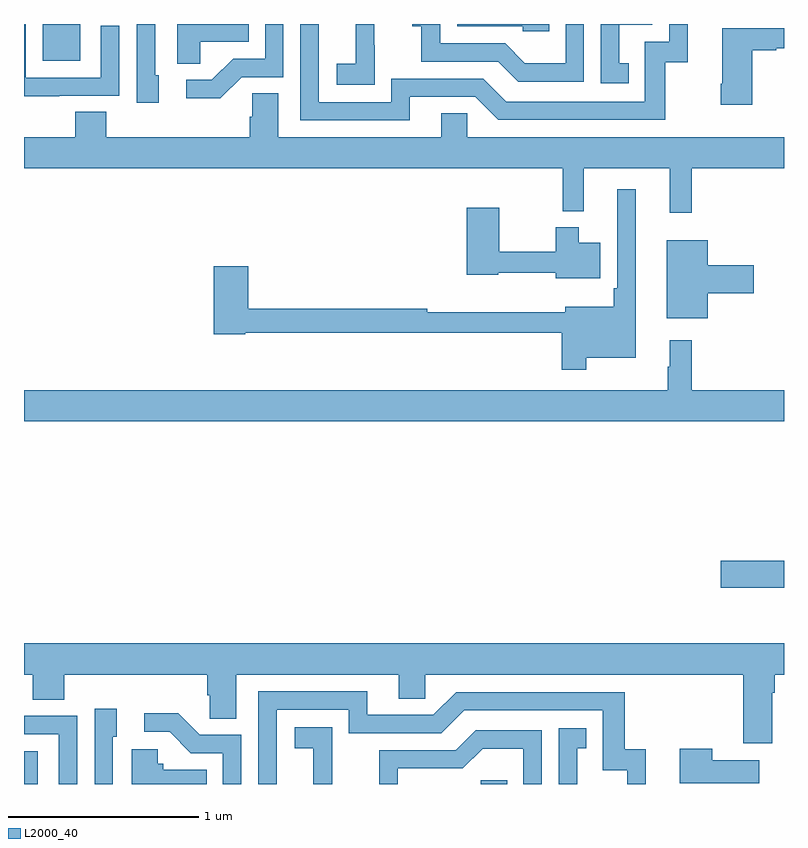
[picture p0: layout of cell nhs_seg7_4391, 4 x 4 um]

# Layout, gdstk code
import gdstk
lib = gdstk.Library(unit=1e-6, precision=1e-09)
def R(c, l, rs):  # rectangles x0, y0, x1, y1
    for r in rs: c.add(gdstk.rectangle(r[:2], r[2:], *l))
def P(c, l, *ps):  # polygons
    for p in ps: c.add(gdstk.Polygon(p, *l))
L2000_40 = (2000, 40)

nhs_seg7_4391 = lib.new_cell('nhs_seg7_4391')
R(nhs_seg7_4391, L2000_40, [(387,1040,387.073,1040.173), (389.403,1040,389.543,1040.019), (390.666,1041.034,391,1041.176), (387.098,1043.807,387.295,1044)])
P(nhs_seg7_4391, L2000_40, [(389.946,1044),(389.85,1044),(389.85,1043.794),(389.636,1043.794),(389.532,1043.898),(389.19,1043.898),(389.19,1044),(389.043,1044),(389.043,1043.987),(389.092,1043.987),(389.092,1043.802),(389.495,1043.802),(389.6,1043.697),(389.946,1043.697)],
  [(389.765,1044),(389.28,1044),(389.28,1043.988),(389.625,1043.988),(389.625,1043.961),(389.765,1043.961)],
  [(388.845,1043.887),(388.844,1043.887),(388.844,1044),(388.745,1044),(388.745,1043.791),(388.647,1043.791),(388.647,1043.681),(388.845,1043.681)],
  [(387.927,1043.906),(388.184,1043.906),(388.184,1044),(387.806,1044),(387.806,1043.791),(387.927,1043.791)],
  [(389.029,1043.616),(389.376,1043.616),(389.496,1043.496),(390.376,1043.496),(390.376,1043.799),(390.494,1043.799),(390.494,1044),(390.396,1044),(390.396,1043.907),(390.267,1043.907),(390.267,1043.592),(389.538,1043.592),(389.418,1043.712),(388.932,1043.712),(388.932,1043.589),(388.551,1043.589),(388.551,1044),(388.455,1044),(388.455,1043.493),(389.029,1043.493)],
  [(387.709,1043.73),(387.69,1043.73),(387.69,1044),(387.594,1044),(387.594,1043.586),(387.709,1043.586)],
  [(387.185,1043.622),(387.501,1043.622),(387.501,1043.992),(387.405,1043.992),(387.405,1043.718),(387.009,1043.718),(387.009,1044),(387,1044),(387,1043.621),(387.185,1043.621)],
  [(388.146,1043.721),(388.365,1043.721),(388.365,1044),(388.269,1044),(388.269,1043.817),(388.1,1043.817),(387.989,1043.706),(387.855,1043.706),(387.855,1043.609),(388.033,1043.609)],
  [(390.182,1043.793),(390.133,1043.793),(390.133,1043.997),(390.306,1043.997),(390.306,1044),(390.036,1044),(390.036,1043.688),(390.182,1043.688)],
  [(390.832,1043.863),(390.959,1043.863),(390.959,1043.873),(391,1043.873),(391,1043.977),(390.674,1043.977),(390.674,1043.686),(390.667,1043.686),(390.667,1043.574),(390.832,1043.574)],
  [(389.835,1043.015),(389.945,1043.015),(389.945,1043.24),(390.398,1043.24),(390.398,1043.007),(390.515,1043.007),(390.515,1043.24),(391,1043.24),(391,1043.404),(389.334,1043.404),(389.334,1043.531),(389.195,1043.531),(389.195,1043.404),(388.339,1043.404),(388.339,1043.636),(388.2,1043.636),(388.2,1043.513),(388.187,1043.513),(388.187,1043.404),(387.434,1043.404),(387.434,1043.537),(387.269,1043.537),(387.269,1043.404),(387,1043.404),(387,1043.24),(389.835,1043.24)],
  [(389.959,1042.244),(390.22,1042.244),(390.22,1043.131),(390.123,1043.131),(390.123,1042.609),(390.103,1042.609),(390.103,1042.513),(389.849,1042.513),(389.849,1042.484),(389.123,1042.484),(389.123,1042.502),(388.181,1042.502),(388.181,1042.726),(387.998,1042.726),(387.998,1042.366),(388.164,1042.366),(388.164,1042.374),(389.83,1042.374),(389.83,1042.179),(389.959,1042.179)],
  [(390.034,1042.849),(389.92,1042.849),(389.92,1042.93),(389.798,1042.93),(389.798,1042.801),(389.5,1042.801),(389.5,1043.032),(389.33,1043.032),(389.33,1042.679),(389.496,1042.679),(389.496,1042.691),(389.798,1042.691),(389.798,1042.661),(390.034,1042.661)],
  [(390.598,1042.583),(390.841,1042.583),(390.841,1042.73),(390.598,1042.73),(390.598,1042.861),(390.383,1042.861),(390.383,1042.451),(390.598,1042.451)],
  [(391,1042.072),(390.515,1042.072),(390.515,1042.336),(390.398,1042.336),(390.398,1042.196),(390.387,1042.196),(390.387,1042.072),(387,1042.072),(387,1041.908),(391,1041.908)],
  [(390.937,1040.48),(390.95,1040.48),(390.95,1040.576),(391,1040.576),(391,1040.74),(387,1040.74),(387,1040.576),(387.047,1040.576),(387.047,1040.443),(387.212,1040.443),(387.212,1040.576),(387.965,1040.576),(387.965,1040.467),(387.978,1040.467),(387.978,1040.344),(388.117,1040.344),(388.117,1040.576),(388.973,1040.576),(388.973,1040.449),(389.112,1040.449),(389.112,1040.576),(390.785,1040.576),(390.785,1040.214),(390.937,1040.214)],
  [(388.329,1040.391),(388.71,1040.391),(388.71,1040.268),(389.196,1040.268),(389.316,1040.388),(390.045,1040.388),(390.045,1040.073),(390.174,1040.073),(390.174,1040),(390.272,1040),(390.272,1040.182),(390.161,1040.182),(390.161,1040.484),(389.274,1040.484),(389.154,1040.364),(388.807,1040.364),(388.807,1040.487),(388.233,1040.487),(388.233,1040),(388.329,1040)],
  [(387.468,1040.25),(387.487,1040.25),(387.487,1040.395),(387.372,1040.395),(387.372,1040),(387.468,1040)],
  [(388.143,1040.259),(387.924,1040.259),(387.811,1040.372),(387.633,1040.372),(387.633,1040.274),(387.767,1040.274),(387.878,1040.163),(388.047,1040.163),(388.047,1040),(388.143,1040)],
  [(387.279,1040.358),(387,1040.358),(387,1040.262),(387.183,1040.262),(387.183,1040),(387.279,1040)],
  [(388.622,1040.093),(388.623,1040.093),(388.623,1040.299),(388.425,1040.299),(388.425,1040.189),(388.523,1040.189),(388.523,1040),(388.622,1040)],
  [(389.911,1040.187),(389.96,1040.187),(389.96,1040.293),(389.814,1040.293),(389.814,1040),(389.911,1040)],
  [(388.968,1040.082),(389.31,1040.082),(389.414,1040.186),(389.628,1040.186),(389.628,1040),(389.724,1040),(389.724,1040.283),(389.378,1040.283),(389.273,1040.178),(388.87,1040.178),(388.87,1040),(388.968,1040)],
  [(390.871,1040.125),(390.623,1040.125),(390.623,1040.185),(390.452,1040.185),(390.452,1040.003),(390.871,1040.003)],
  [(387.962,1040.074),(387.732,1040.074),(387.732,1040.106),(387.705,1040.106),(387.705,1040.182),(387.566,1040.182),(387.566,1040),(387.962,1040)])

lib.write_gds('nhs_seg7_4391.gds')
